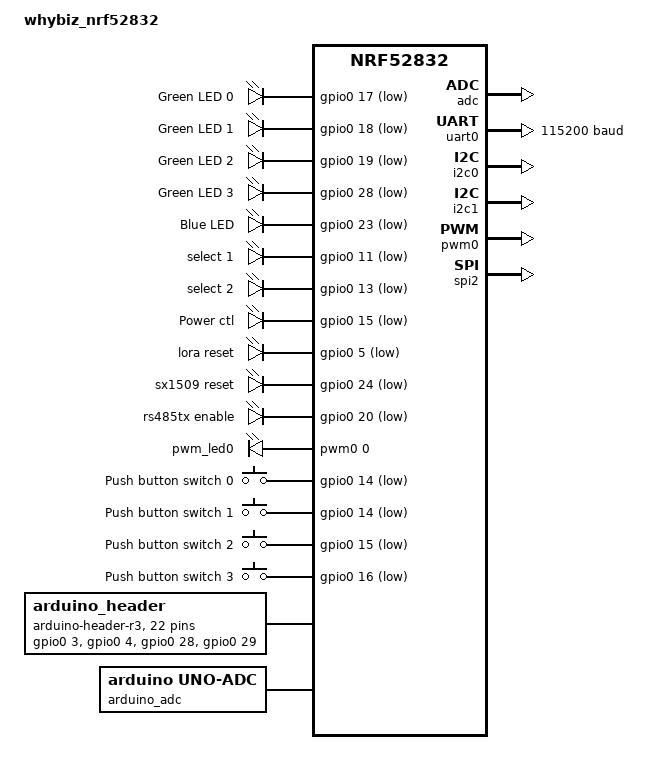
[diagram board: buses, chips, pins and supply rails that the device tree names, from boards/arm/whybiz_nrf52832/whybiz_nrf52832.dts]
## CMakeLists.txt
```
#
# Copyright (c) 2018 Nordic Semiconductor
#
# SPDX-License-Identifier: LicenseRef-Nordic-5-Clause
#
cmake_minimum_required(VERSION 3.20.0)

find_package(Zephyr REQUIRED HINTS $ENV{ZEPHYR_BASE})
project(NONE)

# NORDIC SDK APP START
target_sources(app PRIVATE
  src/main.c
  src/uttec.c 
  src/myBle.c 
  src/sx1509.c 
  src/adc.c 
  src/nvm.c
)

# Include UART ASYNC API adapter
target_sources_ifdef(CONFIG_BT_NUS_UART_ASYNC_ADAPTER app PRIVATE
  src/uart_async_adapter.c
)

# NORDIC SDK APP END

zephyr_library_include_directories(.)
```

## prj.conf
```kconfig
#
# Copyright (c) 2018 Nordic Semiconductor
#
# SPDX-License-Identifier: LicenseRef-Nordic-5-Clause
#

# Enable the UART driver
CONFIG_UART_ASYNC_API=y
CONFIG_NRFX_UARTE0=y
CONFIG_SERIAL=y

CONFIG_GPIO=y

# Make sure printk is printing to the UART console
CONFIG_CONSOLE=y
CONFIG_UART_CONSOLE=y

CONFIG_HEAP_MEM_POOL_SIZE=2048

CONFIG_BT=y
CONFIG_BT_PERIPHERAL=y
CONFIG_BT_DEVICE_NAME="Whybiz for nordic"
CONFIG_BT_DEVICE_APPEARANCE=833
CONFIG_BT_MAX_CONN=1
CONFIG_BT_MAX_PAIRED=1

# Enable the NUS service
CONFIG_BT_NUS=y

# Enable bonding
CONFIG_BT_SETTINGS=y
CONFIG_FLASH=y
CONFIG_FLASH_PAGE_LAYOUT=y
CONFIG_FLASH_MAP=y
CONFIG_NVS=y
CONFIG_SETTINGS=y

# Enable DK LED and Buttons library
CONFIG_DK_LIBRARY=y

# This example requires more stack
CONFIG_MAIN_STACK_SIZE=1152
CONFIG_SYSTEM_WORKQUEUE_STACK_SIZE=2048

# Config logger
CONFIG_LOG=y
CONFIG_USE_SEGGER_RTT=y
CONFIG_LOG_BACKEND_RTT=y
CONFIG_LOG_BACKEND_UART=n
CONFIG_LOG_PRINTK=y

CONFIG_ASSERT=y

CONFIG_JSON_LIBRARY=y

CONFIG_I2C=y
CONFIG_ADC=y

# for float print
CONFIG_CBPRINTF_FP_SUPPORT=y
```

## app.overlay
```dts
/*
 * Copyright (c) 2022 Nordic Semiconductor ASA
 *
 * SPDX-License-Identifier: LicenseRef-Nordic-5-Clause
 */

/ {
	chosen {
		nordic,nus-uart = &uart0;
	};
};

// &sx1509b {
// 	status = "okay";
// };	
```

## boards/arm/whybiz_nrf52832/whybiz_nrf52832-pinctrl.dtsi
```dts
&pinctrl {
	uart0_default: uart0_default {
		group1 {
			// psels = <NRF_PSEL(UART_TX, 0, 6)>,
			psels = <NRF_PSEL(UART_TX, 0, 22)>,
				<NRF_PSEL(UART_RX, 0, 8)>,
				<NRF_PSEL(UART_RTS, 0, 5)>,
				<NRF_PSEL(UART_CTS, 0, 7)>;
		};
	};

	uart0_sleep: uart0_sleep {
		group1 {
			// psels = <NRF_PSEL(UART_TX, 0, 6)>,
			psels = <NRF_PSEL(UART_TX, 0, 22)>,
				<NRF_PSEL(UART_RX, 0, 8)>,
				<NRF_PSEL(UART_RTS, 0, 5)>,
				<NRF_PSEL(UART_CTS, 0, 7)>;
			low-power-enable;
		};
	};

	i2c0_default: i2c0_default {
		group1 {
			psels = <NRF_PSEL(TWIM_SDA, 0, 19)>,
				<NRF_PSEL(TWIM_SCL, 0, 17)>;
			// psels = <NRF_PSEL(TWIM_SDA, 0, 26)>,
			// <NRF_PSEL(TWIM_SCL, 0, 27)>;
		};
	};

	i2c0_sleep: i2c0_sleep {
		group1 {
			psels = <NRF_PSEL(TWIM_SDA, 0, 19)>,
				<NRF_PSEL(TWIM_SCL, 0, 17)>;
			// psels = <NRF_PSEL(TWIM_SDA, 0, 26)>,
			// 	<NRF_PSEL(TWIM_SCL, 0, 27)>;
			low-power-enable;
		};
	};

	i2c1_default: i2c1_default {
		group1 {
			psels = <NRF_PSEL(TWIM_SDA, 0, 30)>,
				<NRF_PSEL(TWIM_SCL, 0, 31)>;
		};
	};

	i2c1_sleep: i2c1_sleep {
		group1 {
			psels = <NRF_PSEL(TWIM_SDA, 0, 30)>,
				<NRF_PSEL(TWIM_SCL, 0, 31)>;
			low-power-enable;
		};
	};

	pwm0_default: pwm0_default {
		group1 {
			psels = <NRF_PSEL(PWM_OUT0, 0, 17)>;
			nordic,invert;
		};
	};

	pwm0_sleep: pwm0_sleep {
		group1 {
			psels = <NRF_PSEL(PWM_OUT0, 0, 17)>;
			low-power-enable;
		};
	};

	spi0_default: spi0_default {
		group1 {
			psels = <NRF_PSEL(SPIM_SCK, 0, 27)>,
				<NRF_PSEL(SPIM_MOSI, 0, 26)>,
				<NRF_PSEL(SPIM_MISO, 0, 28)>;
		};
	};

	spi0_sleep: spi0_sleep {
		group1 {
			psels = <NRF_PSEL(SPIM_SCK, 0, 27)>,
				<NRF_PSEL(SPIM_MOSI, 0, 26)>,
				<NRF_PSEL(SPIM_MISO, 0, 28)>;
			low-power-enable;
		};
	};

	spi1_default: spi1_default {
		group1 {
			psels = <NRF_PSEL(SPIM_SCK, 0, 31)>,
				<NRF_PSEL(SPIM_MOSI, 0, 30)>,
				<NRF_PSEL(SPIM_MISO, 0, 29)>;
		};
	};

	spi1_sleep: spi1_sleep {
		group1 {
			psels = <NRF_PSEL(SPIM_SCK, 0, 31)>,
				<NRF_PSEL(SPIM_MOSI, 0, 30)>,
				<NRF_PSEL(SPIM_MISO, 0, 29)>;
			low-power-enable;
		};
	};

	spi2_default: spi2_default {
		group1 {
			psels = <NRF_PSEL(SPIM_SCK, 0, 25)>,
				<NRF_PSEL(SPIM_MOSI, 0, 23)>,
				<NRF_PSEL(SPIM_MISO, 0, 24)>;
		};
	};

	spi2_sleep: spi2_sleep {
		group1 {
			psels = <NRF_PSEL(SPIM_SCK, 0, 25)>,
				<NRF_PSEL(SPIM_MOSI, 0, 23)>,
				<NRF_PSEL(SPIM_MISO, 0, 24)>;
			low-power-enable;
		};
	};

};
```

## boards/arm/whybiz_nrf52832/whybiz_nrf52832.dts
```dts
// Copyright (c) 2024 Nordic Semiconductor ASA
// SPDX-License-Identifier: Apache-2.0

/dts-v1/;
#include <nordic/nrf52832_qfaa.dtsi>
#include "whybiz_nrf52832-pinctrl.dtsi"
#include <zephyr/dt-bindings/input/input-event-codes.h>

/ {
	model = "whybiz_nrf52832";
	compatible = "uttec,whybiz-nrf52832";


	chosen {
		zephyr,console = &uart0;
		zephyr,shell-uart = &uart0;
		zephyr,uart-mcumgr = &uart0;
		zephyr,bt-mon-uart = &uart0;
		zephyr,bt-c2h-uart = &uart0;
		zephyr,sram = &sram0;
		zephyr,flash = &flash0;
		zephyr,code-partition = &slot0_partition;
	};

	leds {
		compatible = "gpio-leds";
		led0: led_0 {
			gpios = <&gpio0 17 GPIO_ACTIVE_LOW>;
			label = "Green LED 0";
		};
		led1: led_1 {
			gpios = <&gpio0 18 GPIO_ACTIVE_LOW>;
			label = "Green LED 1";
		};
		led2: led_2 {
			gpios = <&gpio0 19 GPIO_ACTIVE_LOW>;
			label = "Green LED 2";
		};
		led3: led_3 {
			// gpios = <&gpio0 20 GPIO_ACTIVE_LOW>;
			gpios = <&gpio0 28 GPIO_ACTIVE_LOW>;
			label = "Green LED 3";
		};
		led4: led_4 {
			gpios = <&gpio0 23 GPIO_ACTIVE_LOW>;
			label = "Blue LED";
		};
		select1: select_1 {
			gpios = <&gpio0 11 GPIO_ACTIVE_LOW>;
			label = "select 1";
		};
		select2: select_2 {
			gpios = <&gpio0 13 GPIO_ACTIVE_LOW>;
			label = "select 2";
		};
		pwrctl: pwr_ctl {
			gpios = <&gpio0 15 GPIO_ACTIVE_LOW>;
			label = "Power ctl";
		};
		lorarst: lora_rst {
			gpios = <&gpio0 5 GPIO_ACTIVE_LOW>;
			label = "lora reset";
		};
		sx1509rst: sx1509_rst {
			gpios = <&gpio0 24 GPIO_ACTIVE_LOW>;
			label = "sx1509 reset";
		};

		rs485tx: rs485tx_en {
			gpios = <&gpio0 20 GPIO_ACTIVE_LOW>;
			label = "rs485tx enable";
		};
	};

	pwmleds {
		compatible = "pwm-leds";
		pwm_led0: pwm_led_0 {
			pwms = <&pwm0 0 PWM_MSEC(20) PWM_POLARITY_INVERTED>;
		};
	};

	buttons {
		compatible = "gpio-keys";
		button0: button_0 {
			// gpios = <&gpio0 13 (GPIO_PULL_UP | GPIO_ACTIVE_LOW)>;
			gpios = <&gpio0 14 (GPIO_PULL_UP | GPIO_ACTIVE_LOW)>;
			label = "Push button switch 0";
			zephyr,code = <INPUT_KEY_0>;
		};
		button1: button_1 {
			gpios = <&gpio0 14 (GPIO_PULL_UP | GPIO_ACTIVE_LOW)>;
			label = "Push button switch 1";
			zephyr,code = <INPUT_KEY_1>;
		};
		button2: button_2 {
			gpios = <&gpio0 15 (GPIO_PULL_UP | GPIO_ACTIVE_LOW)>;
			label = "Push button switch 2";
			zephyr,code = <INPUT_KEY_2>;
		};
		button3: button_3 {
			gpios = <&gpio0 16 (GPIO_PULL_UP | GPIO_ACTIVE_LOW)>;
			label = "Push button switch 3";
			zephyr,code = <INPUT_KEY_3>;
		};
	};

	arduino_header: connector {
		compatible = "arduino-header-r3";
		#gpio-cells = <2>;
		gpio-map-mask = <0xffffffff 0xffffffc0>;
		gpio-map-pass-thru = <0 0x3f>;
		gpio-map = <0 0 &gpio0 3 0>,	/* A0 */
			   <1 0 &gpio0 4 0>,	/* A1 */
			   <2 0 &gpio0 28 0>,	/* A2 */
			   <3 0 &gpio0 29 0>,	/* A3 */
			   <4 0 &gpio0 30 0>,	/* A4 */
			   <5 0 &gpio0 31 0>,	/* A5 */
			   <6 0 &gpio0 11 0>,	/* D0 */
			   <7 0 &gpio0 12 0>,	/* D1 */
			   <8 0 &gpio0 13 0>,	/* D2 */
			   <9 0 &gpio0 14 0>,	/* D3 */
			   <10 0 &gpio0 15 0>,	/* D4 */
			   <11 0 &gpio0 16 0>,	/* D5 */
			   <12 0 &gpio0 17 0>,	/* D6 */
			   <13 0 &gpio0 18 0>,	/* D7 */
			   <14 0 &gpio0 19 0>,	/* D8 */
			   <15 0 &gpio0 20 0>,	/* D9 */
			   <16 0 &gpio0 22 0>,	/* D10 */
			   <17 0 &gpio0 23 0>,	/* D11 */
			   <18 0 &gpio0 24 0>,	/* D12 */
			   <19 0 &gpio0 25 0>,	/* D13 */
			   <20 0 &gpio0 26 0>,	/* D14 */
			   <21 0 &gpio0 27 0>;	/* D15 */
	};

	arduino_adc: analog-connector {
		compatible = "arduino,uno-adc";
		#io-channel-cells = <1>;
		io-channel-map = <0 &adc 1>,	/* A0 = P0.3 = AIN1 */
				 <1 &adc 2>,	/* A1 = P0.4 = AIN2 */
				 <2 &adc 4>,	/* A2 = P0.28 = AIN4 */
				 <3 &adc 5>,	/* A3 = P0.29 = AIN5 */
				 <4 &adc 6>,	/* A4 = P0.30 = AIN6 */
				 <5 &adc 7>;	/* A5 = P0.31 = AIN7 */
	};

	/* These aliases are provided for compatibility with samples */
	aliases {
		led0 = &led0;
		led1 = &led1;
		led2 = &led2;
		led3 = &led3;
		pwm-led0 = &pwm_led0;
		sw0 = &button0;
		sw1 = &button1;
		sw2 = &button2;
		sw3 = &button3;
		bootloader-led0 = &led0;
		mcuboot-button0 = &button0;
		mcuboot-led0 = &led0;
		watchdog0 = &wdt0;
	};
};

&adc {
	status = "okay";
};

&uicr {
	gpio-as-nreset;
};

&gpiote {
	status = "okay";
};

&gpio0 {
	status = "okay";
};

arduino_serial: &uart0 {
	status = "okay";
	compatible = "nordic,nrf-uarte";
	current-speed = <115200>;
	pinctrl-0 = <&uart0_default>;
	pinctrl-1 = <&uart0_sleep>;
	pinctrl-names = "default", "sleep";
};

arduino_i2c: &i2c0 {
	compatible = "nordic,nrf-twi";
	status = "okay";
	pinctrl-0 = <&i2c0_default>;
	pinctrl-1 = <&i2c0_sleep>;
	pinctrl-names = "default", "sleep";

};

&i2c1 {
	compatible = "nordic,nrf-twi";
	/* Cannot be used together with spi1. */
	status = "okay";
	pinctrl-0 = <&i2c1_default>;
	pinctrl-1 = <&i2c1_sleep>;
	pinctrl-names = "default", "sleep";
};

&pwm0 {
	status = "okay";
	pinctrl-0 = <&pwm0_default>;
	pinctrl-1 = <&pwm0_sleep>;
	pinctrl-names = "default", "sleep";
};

&spi0 {
	compatible = "nordic,nrf-spi";
	/* Cannot be used together with i2c0. */
	/* status = "okay"; */
	pinctrl-0 = <&spi0_default>;
	pinctrl-1 = <&spi0_sleep>;
	pinctrl-names = "default", "sleep";
};

&spi1 {
	compatible = "nordic,nrf-spi";
	// status = "okay";
	pinctrl-0 = <&spi1_default>;
	pinctrl-1 = <&spi1_sleep>;
	pinctrl-names = "default", "sleep";
};

arduino_spi: &spi2 {
	compatible = "nordic,nrf-spi";
	status = "okay";
	cs-gpios = <&arduino_header 16 GPIO_ACTIVE_LOW>; /* D10 */
	pinctrl-0 = <&spi2_default>;
	pinctrl-1 = <&spi2_sleep>;
	pinctrl-names = "default", "sleep";
};

&flash0 {

	partitions {
		compatible = "fixed-partitions";
		#address-cells = <1>;
		#size-cells = <1>;

		boot_partition: partition@0 {
			label = "mcuboot";
			reg = <0x00000000 0xc000>;
		};
		slot0_partition: partition@c000 {
			label = "image-0";
			reg = <0x0000C000 0x37000>;
		};
		slot1_partition: partition@43000 {
			label = "image-1";
			reg = <0x00043000 0x37000>;
		};
		storage_partition: partition@7a000 {
			label = "storage";
			reg = <0x0007a000 0x00006000>;
		};
	};
};
```

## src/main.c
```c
#include "uart_async_adapter.h"

#include <zephyr/types.h>
#include <zephyr/kernel.h>
#include <zephyr/drivers/uart.h>

#include <zephyr/device.h>
#include <zephyr/devicetree.h>
#include <soc.h>

#include <stdio.h>
#include <zephyr/logging/log.h>

#include "uttec.h"
#include "myBle.h"
#include "sx1509.h"
#include "adc.h"
#include "nvm.h"

#define RUN_LED_BLINK_INTERVAL 500
#define RUN_STATUS_LED DK_LED1

connectFlag_t whybizConnect = {0, };
connectFlag_t* getConnectFlag(void){
	return &whybizConnect;
}

#define I2C_ENABLE 1

int main(void)
{
	printk("nordic for whybiz. 2024.01.26. 09:20\r\n");
	initBle();
	initAdc();
	initNvm();
	initPort();

#ifdef I2C_ENABLE
	initSx1509();
#endif

	whybizConnect.first = true;
    // whybiz_t* pFactor = getWhybizFactor();

	for (;;) {
		static uint32_t count = 0;
		static bool toggle = false;
		delay(500);

#ifdef I2C_ENABLE
		if(!(count % 2)){
			// sendStatus2Server();
		}
		if(!(count % 3)){
			printk("main: %d\n", count);
			dispChannel();
		}

		if((count % 10) == 5){
		    whybiz_t* pFactor = getWhybizFactor();
			if(pFactor->channel == LORA_CHANNEL){
				printk("rssi read\n");
				printf("at=i");
			}
		}	
#endif
		toggle = !toggle;
		count++;
	}
}

#define STACKSIZE CONFIG_BT_NUS_THREAD_STACK_SIZE
#define PRIORITY 7

void parsing(void){
	printk("now start parsing task\r\n");
	uint8_t beforeSw = 0;
    whybiz_t* pFactor = getWhybizFactor();
    whybizFrame_t* pFrame = getWhybizFrame();
    connectFlag_t* pFlags = getConnectFlag();

	while(1){
		delay(200);
		jsonFrame_t* pJason = getJsonFrame();
		if(pJason->flag){
			newParse(pJason->frame, pJason->end+1);// json test
			dispJsonFrame();
			k_sleep(K_MSEC(20));
			clearJsonData();
		}

		uint8_t nowSw = readSxSw();
		if(beforeSw != nowSw){
			beforeSw = nowSw;
			printk("changed switch, send data to server------->\r\n");
			pFrame->category = SWITCH_DEVICE; 
			pFrame->sensor = pFactor->sw; pFrame->value = pFactor->sw; 
			ack_t ack = {pFrame->category, pFrame->sensor, pFrame->sensor, 200};
			sendAck(ack);
			procSwitchTxBle(pFlags->ble);
			delay(100);
			ack.ca = pFrame->category; ack.se = pFrame->sensor;
			ack.va = pFrame->sensor; ack.crc = 200;
			sendAck(ack);
			procSwitchTxBle(pFlags->ble);
		}
		// sendStatus2Server();
	}
}

K_THREAD_DEFINE(parsing_thread_id, STACKSIZE, parsing, NULL, NULL,
		NULL, PRIORITY, 0, 0);

void test(void){
	uint32_t testCount = 0;
    whybiz_t* pFactor = getWhybizFactor();
	while(true){
		if(pFactor->channel == RS485_CHANNEL)
			delay(20);
		else
			delay(500);
		sendStatus2Server();
		// printk("test: %d\n", testCount++);
		// printk("-");
	}
}

K_THREAD_DEFINE(test_id, STACKSIZE, test, NULL, NULL,
		NULL, PRIORITY, 0, 0);
```

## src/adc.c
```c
#include "uart_async_adapter.h"

#include <zephyr/types.h>
#include <zephyr/kernel.h>
#include <zephyr/drivers/uart.h>
#include <zephyr/usb/usb_device.h>

#include <zephyr/device.h>
#include <zephyr/devicetree.h>
#include <soc.h>

#include <dk_buttons_and_leds.h>

#include <stdio.h>

#include <zephyr/logging/log.h>

#include "uttec.h"
#include "myBle.h"
#include "sx1509.h"

#include <zephyr/drivers/adc.h>

#define ADC DT_NODELABEL(adc)
static const struct device *adc_dev = DEVICE_DT_GET(ADC);

#define ADC_RESOLUTION 	10
#define ADC0_CHANNEL	0
#define ADC1_CHANNEL	2
#define ADC0_PORT		SAADC_CH_PSELN_PSELN_AnalogInput0
#define ADC1_PORT		SAADC_CH_PSELN_PSELN_AnalogInput2
#define ADC_REFERENCE	ADC_REF_INTERNAL
#define ADC_GAIN		ADC_GAIN_1_6 

struct adc_channel_cfg ch0_cfg = {
	.gain = ADC_GAIN,
	.reference = ADC_REFERENCE,
	.acquisition_time = ADC_ACQ_TIME_DEFAULT,
	.channel_id = ADC0_CHANNEL,
#ifdef CONFIG_ADC_NRFX_SAADC
	.input_positive = ADC0_PORT
#endif 	
}; 
struct adc_channel_cfg ch1_cfg = {
	.gain = ADC_GAIN,
	.reference = ADC_REFERENCE,
	.acquisition_time = ADC_ACQ_TIME_DEFAULT,
	.channel_id = ADC1_CHANNEL,
#ifdef CONFIG_ADC_NRFX_SAADC
	.input_positive = ADC1_PORT
#endif 	
}; 

int16_t sample_buffer[2];
struct adc_sequence sequence = {
	.channels = BIT(ADC0_CHANNEL) | BIT(ADC1_CHANNEL),
	// .channels = BIT(ADC0_CHANNEL),
	.buffer = sample_buffer,
	.buffer_size = sizeof(sample_buffer),
	.resolution = ADC_RESOLUTION
};

void initAdc(void){
	if(!device_is_ready(adc_dev)){
		printk("adc_dev is not ready.");
	}
	int err = adc_channel_setup(adc_dev, &ch0_cfg);
	err = adc_channel_setup(adc_dev, &ch1_cfg);
	
}

void testAdc(void){
    int err;
    err = adc_read(adc_dev, &sequence);
    if(err != 0){
        printk("ADC reading failed with error %d\r\n", err);
        return;
    }
    int32_t mv_value = sample_buffer[0];
    int32_t adc_vref = adc_ref_internal(adc_dev);
    adc_raw_to_millivolts(adc_vref, ADC_GAIN, ADC_RESOLUTION, &mv_value);
    printk("ADC-spanning: %d mV, %d\r\n", mv_value, sample_buffer[0]/10);

    int32_t mv_value1 = sample_buffer[1];
    adc_raw_to_millivolts(adc_vref, ADC_GAIN, ADC_RESOLUTION, &mv_value1);
    printk("ADC-spanning: %d mV, %d\r\n", mv_value1, sample_buffer[1]);    
}

void readAdcValue(void){
    int err;
    whybiz_t* pWhybiz = getWhybizFactor();
    err = adc_read(adc_dev, &sequence);
    if(err != 0){
        printk("ADC reading failed with error %d\r\n", err);
        return;
    }
    pWhybiz->adc1 = sample_buffer[0]/10;
    pWhybiz->adc2 = sample_buffer[1]/10;
    printk("Adc1: %d, Adc2: %d\n", 
        pWhybiz->adc1, pWhybiz->adc2);
}
```

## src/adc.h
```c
#ifndef ADC__H__
#define ADC__H__


void initAdc(void);
void readAdcValue(void);

void testAdc(void);


#endif 
```

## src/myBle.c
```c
#include "uart_async_adapter.h"

#include <zephyr/types.h>
#include <zephyr/kernel.h>
#include <zephyr/drivers/uart.h>
#include <zephyr/usb/usb_device.h>

#include <zephyr/device.h>
#include <zephyr/devicetree.h>
#include <soc.h>

#include <zephyr/bluetooth/bluetooth.h>
#include <zephyr/bluetooth/uuid.h>
#include <zephyr/bluetooth/gatt.h>
#include <zephyr/bluetooth/hci.h>

#include <bluetooth/services/nus.h>

#include <dk_buttons_and_leds.h>

#include <zephyr/settings/settings.h>

#include <stdio.h>

#include <zephyr/logging/log.h>

#include "myBle.h"
#include "uttec.h"
#include "sx1509.h"

#define LOG_MODULE_NAME peripheral_uart
LOG_MODULE_REGISTER(LOG_MODULE_NAME);

#define STACKSIZE CONFIG_BT_NUS_THREAD_STACK_SIZE
#define PRIORITY 7

// #define DEVICE_NAME CONFIG_BT_DEVICE_NAME
// #define DEVICE_NAME_LEN	(sizeof(DEVICE_NAME) - 1)

// #define RUN_STATUS_LED DK_LED1
// #define RUN_LED_BLINK_INTERVAL 3000

#define CON_STATUS_LED DK_LED2

#define KEY_PASSKEY_ACCEPT DK_BTN1_MSK
#define KEY_PASSKEY_REJECT DK_BTN2_MSK

// #define UART_BUF_SIZE CONFIG_BT_NUS_UART_BUFFER_SIZE
#define UART_BUF_SIZE 100
// #define UART_BUF_SIZE 200
#define UART_WAIT_FOR_BUF_DELAY K_MSEC(50)
#define UART_WAIT_FOR_RX CONFIG_BT_NUS_UART_RX_WAIT_TIME

static K_SEM_DEFINE(ble_init_ok, 0, 1);

static struct bt_conn *current_conn;
static struct bt_conn *auth_conn;

static const struct device *uart = DEVICE_DT_GET(DT_CHOSEN(nordic_nus_uart));
static struct k_work_delayable uart_work;


struct uart_data_t {
	void *fifo_reserved;
	uint8_t data[UART_BUF_SIZE];
	uint16_t len;
};

static K_FIFO_DEFINE(fifo_uart_tx_data);
static K_FIFO_DEFINE(fifo_uart_rx_data);

// static const struct bt_data ad[] = {
// 	BT_DATA_BYTES(BT_DATA_FLAGS, (BT_LE_AD_GENERAL | BT_LE_AD_NO_BREDR)),
// 	BT_DATA(BT_DATA_NAME_COMPLETE, DEVICE_NAME, DEVICE_NAME_LEN),
// };

static const struct bt_data sd[] = {
	BT_DATA_BYTES(BT_DATA_UUID128_ALL, BT_UUID_NUS_VAL),
};

#if CONFIG_BT_NUS_UART_ASYNC_ADAPTER
UART_ASYNC_ADAPTER_INST_DEFINE(async_adapter);
#else
static const struct device *const async_adapter;
#endif



static void uart_cb(const struct device *dev, struct uart_event *evt, void *user_data)
{
	ARG_UNUSED(dev);

	static size_t aborted_len;
	struct uart_data_t *buf;
	static uint8_t *aborted_buf;
	static bool disable_req;

	switch (evt->type) {
	case UART_TX_DONE:
		LOG_DBG("UART_TX_DONE");
		LOG_INF("UART_TX_DONE");
		if ((evt->data.tx.len == 0) ||
		    (!evt->data.tx.buf)) {
			return;
		}

		if (aborted_buf) {
			buf = CONTAINER_OF(aborted_buf, struct uart_data_t,
					   data);
			aborted_buf = NULL;
			aborted_len = 0;
		} else {
			buf = CONTAINER_OF(evt->data.tx.buf, struct uart_data_t,
					   data);
		}

		k_free(buf);

		buf = k_fifo_get(&fifo_uart_tx_data, K_NO_WAIT);
		if (!buf) {
			return;
		}

		if (uart_tx(uart, buf->data, buf->len, SYS_FOREVER_MS)) {
			LOG_WRN("Failed to send data over UART");
		}

		break;

	case UART_RX_RDY:
	// test0
		// LOG_DBG("UART_RX_RDY");
		// LOG_INF("UART_RX_RDY");
		buf = CONTAINER_OF(evt->data.rx.buf, struct uart_data_t, data);
		buf->len += evt->data.rx.len;

		if (disable_req) {
			return;
		}

		if ((evt->data.rx.buf[buf->len - 1] == '\n') ||
		    (evt->data.rx.buf[buf->len - 1] == '\r')) {
			// printk("<--%d\r\n", buf->len);	
			disable_req = true;
			uart_rx_disable(uart);
		}

		break;

	case UART_RX_DISABLED:
		LOG_DBG("UART_RX_DISABLED");
		disable_req = false;

		buf = k_malloc(sizeof(*buf));
		if (buf) {
			buf->len = 0;
		} else {
			LOG_WRN("Not able to allocate UART receive buffer");
			k_work_reschedule(&uart_work, UART_WAIT_FOR_BUF_DELAY);
			return;
		}

		uart_rx_enable(uart, buf->data, sizeof(buf->data),
			       UART_WAIT_FOR_RX);

		break;

	case UART_RX_BUF_REQUEST:
		LOG_DBG("UART_RX_BUF_REQUEST");
		buf = k_malloc(sizeof(*buf));
		if (buf) {
			buf->len = 0;
			uart_rx_buf_rsp(uart, buf->data, sizeof(buf->data));
		} else {
			LOG_WRN("Not able to allocate UART receive buffer");
		}

		break;

	case UART_RX_BUF_RELEASED:
		LOG_DBG("UART_RX_BUF_RELEASED");
		buf = CONTAINER_OF(evt->data.rx_buf.buf, struct uart_data_t,
				   data);

		if (buf->len > 0) {
			k_fifo_put(&fifo_uart_rx_data, buf);
		} else {
			k_free(buf);
		}

		break;

	case UART_TX_ABORTED:
		LOG_DBG("UART_TX_ABORTED");
		if (!aborted_buf) {
			aborted_buf = (uint8_t *)evt->data.tx.buf;
		}

		aborted_len += evt->data.tx.len;
		buf = CONTAINER_OF(aborted_buf, struct uart_data_t,
				   data);

		uart_tx(uart, &buf->data[aborted_len],
			buf->len - aborted_len, SYS_FOREVER_MS);

		break;

	default:
		break;
	}
}

static void uart_work_handler(struct k_work *item)
{
	struct uart_data_t *buf;

	buf = k_malloc(sizeof(*buf));
	if (buf) {
		buf->len = 0;
	} else {
		LOG_WRN("Not able to allocate UART receive buffer");
		k_work_reschedule(&uart_work, UART_WAIT_FOR_BUF_DELAY);
		return;
	}

	uart_rx_enable(uart, buf->data, sizeof(buf->data), UART_WAIT_FOR_RX);
}

static bool uart_test_async_api(const struct device *dev)
{
	const struct uart_driver_api *api =
			(const struct uart_driver_api *)dev->api;

	return (api->callback_set != NULL);
}

static int uart_init(void)
{
	int err;
	// int pos;
	struct uart_data_t *rx;
	struct uart_data_t *tx;

	if (!device_is_ready(uart)) {
		return -ENODEV;
	}

	if (IS_ENABLED(CONFIG_USB_DEVICE_STACK)) {
		err = usb_enable(NULL);
		if (err && (err != -EALREADY)) {
			LOG_ERR("Failed to enable USB");
			return err;
		}
	}

	rx = k_malloc(sizeof(*rx));
	if (rx) {
		rx->len = 0;
	} else {
		return -ENOMEM;
	}

	k_work_init_delayable(&uart_work, uart_work_handler);


	if (IS_ENABLED(CONFIG_BT_NUS_UART_ASYNC_ADAPTER) && !uart_test_async_api(uart)) {
		/* Implement API adapter */
		uart_async_adapter_init(async_adapter, uart);
		uart = async_adapter;
	}

	err = uart_callback_set(uart, uart_cb, NULL);
	if (err) {
		k_free(rx);
		LOG_ERR("Cannot initialize UART callback");
		return err;
	}

	if (IS_ENABLED(CONFIG_UART_LINE_CTRL)) {
		LOG_INF("Wait for DTR");
		while (true) {
			uint32_t dtr = 0;

			uart_line_ctrl_get(uart, UART_LINE_CTRL_DTR, &dtr);
			if (dtr) {
				break;
			}
			/* Give CPU resources to low priority threads. */
			k_sleep(K_MSEC(100));
		}
		LOG_INF("DTR set");
		err = uart_line_ctrl_set(uart, UART_LINE_CTRL_DCD, 1);
		if (err) {
			LOG_WRN("Failed to set DCD, ret code %d", err);
		}
		err = uart_line_ctrl_set(uart, UART_LINE_CTRL_DSR, 1);
		if (err) {
			LOG_WRN("Failed to set DSR, ret code %d", err);
		}
	}

	err = uart_rx_enable(uart, rx->data, sizeof(rx->data), 50);
	if (err) {
		LOG_ERR("Cannot enable uart reception (err: %d)", err);
		/* Free the rx buffer only because the tx buffer will be handled in the callback */
		k_free(rx);
	}

	return err;
}

static void connected(struct bt_conn *conn, uint8_t err)
{
	char addr[BT_ADDR_LE_STR_LEN];

	if (err) {
		LOG_ERR("Connection failed (err %u)", err);
		return;
	}
	connectFlag_t* pFlags = getConnectFlag();
	pFlags->ble = true;
	pFlags->first = false;

	bt_addr_le_to_str(bt_conn_get_dst(conn), addr, sizeof(addr));
	LOG_INF("Connected %s", addr);

	current_conn = bt_conn_ref(conn);

	dk_set_led_on(CON_STATUS_LED);
}

static void disconnected(struct bt_conn *conn, uint8_t reason)
{
	char addr[BT_ADDR_LE_STR_LEN];
	
	connectFlag_t* pFlags = getConnectFlag();
	pFlags->ble = false;

	bt_addr_le_to_str(bt_conn_get_dst(conn), addr, sizeof(addr));

	LOG_INF("Disconnected: %s (reason %u)", addr, reason);

	if (auth_conn) {
		bt_conn_unref(auth_conn);
		auth_conn = NULL;
	}

	if (current_conn) {
		bt_conn_unref(current_conn);
		current_conn = NULL;
		dk_set_led_off(CON_STATUS_LED);
	}
}

#ifdef CONFIG_BT_NUS_SECURITY_ENABLED
static void security_changed(struct bt_conn *conn, bt_security_t level,
			     enum bt_security_err err)
{
	char addr[BT_ADDR_LE_STR_LEN];

	bt_addr_le_to_str(bt_conn_get_dst(conn), addr, sizeof(addr));

	if (!err) {
		LOG_INF("Security changed: %s level %u", addr, level);
	} else {
		LOG_WRN("Security failed: %s level %u err %d", addr,
			level, err);
	}
}
#endif

BT_CONN_CB_DEFINE(conn_callbacks) = {
	.connected    = connected,
	.disconnected = disconnected,
#ifdef CONFIG_BT_NUS_SECURITY_ENABLED
	.security_changed = security_changed,
#endif
};

#if defined(CONFIG_BT_NUS_SECURITY_ENABLED)
static void auth_passkey_display(struct bt_conn *conn, unsigned int passkey)
{
	char addr[BT_ADDR_LE_STR_LEN];

	bt_addr_le_to_str(bt_conn_get_dst(conn), addr, sizeof(addr));

	LOG_INF("Passkey for %s: %06u", addr, passkey);
}

static void auth_passkey_confirm(struct bt_conn *conn, unsigned int passkey)
{
	char addr[BT_ADDR_LE_STR_LEN];

	auth_conn = bt_conn_ref(conn);

	bt_addr_le_to_str(bt_conn_get_dst(conn), addr, sizeof(addr));

	LOG_INF("Passkey for %s: %06u", addr, passkey);
	LOG_INF("Press Button 1 to confirm, Button 2 to reject.");
}


static void auth_cancel(struct bt_conn *conn)
{
	char addr[BT_ADDR_LE_STR_LEN];

	bt_addr_le_to_str(bt_conn_get_dst(conn), addr, sizeof(addr));

	LOG_INF("Pairing cancelled: %s", addr);
}


static void pairing_complete(struct bt_conn *conn, bool bonded)
{
	char addr[BT_ADDR_LE_STR_LEN];

	bt_addr_le_to_str(bt_conn_get_dst(conn), addr, sizeof(addr));

	LOG_INF("Pairing completed: %s, bonded: %d", addr, bonded);
}


static void pairing_failed(struct bt_conn *conn, enum bt_security_err reason)
{
	char addr[BT_ADDR_LE_STR_LEN];

	bt_addr_le_to_str(bt_conn_get_dst(conn), addr, sizeof(addr));

	LOG_INF("Pairing failed conn: %s, reason %d", addr, reason);
}


static struct bt_conn_auth_cb conn_auth_callbacks = {
	.passkey_display = auth_passkey_display,
	.passkey_confirm = auth_passkey_confirm,
	.cancel = auth_cancel,
};

static struct bt_conn_auth_info_cb conn_auth_info_callbacks = {
	.pairing_complete = pairing_complete,
	.pairing_failed = pairing_failed
};
#else
static struct bt_conn_auth_cb conn_auth_callbacks;
static struct bt_conn_auth_info_cb conn_auth_info_callbacks;
#endif


static void bt_receive_cb(struct bt_conn *conn, const uint8_t *const data,
			  uint16_t len)
{
	char addr[BT_ADDR_LE_STR_LEN] = {0};

	bt_addr_le_to_str(bt_conn_get_dst(conn), addr, ARRAY_SIZE(addr));

	LOG_INF("Received from: %s, data: %s", addr, data);

	for (uint16_t pos = 0; pos != len;) {
		struct uart_data_t *tx = k_malloc(sizeof(*tx));

		if (!tx) {
			LOG_WRN("Not able to allocate UART send data buffer");
			return;
		}

		size_t tx_data_size = sizeof(tx->data) - 1;

		if ((len - pos) > tx_data_size) {
			tx->len = tx_data_size;
		} else {
			tx->len = (len - pos);
		}

		memcpy(tx->data, &data[pos], tx->len);

		pos += tx->len;

		if ((pos == len) && (data[len - 1] == '\r')) {
			tx->data[tx->len] = '\n';
			tx->len++;
		}
		procRxBle((uint8_t *)tx->data, tx->len);
		k_free(tx);	
	}
}

static struct bt_nus_cb nus_cb = {
	.received = bt_receive_cb,
};


#define DEVICE_NAME "wbiz_nrf_123"
#define DEVICE_NAME_LEN	(sizeof(DEVICE_NAME) - 1)

// static const struct bt_data ad[] = {
// 	BT_DATA_BYTES(BT_DATA_FLAGS, (BT_LE_AD_GENERAL | BT_LE_AD_NO_BREDR)),
// 	// BT_DATA(BT_DATA_NAME_COMPLETE, adTemp, 20),
// 	BT_DATA(BT_DATA_NAME_COMPLETE, DEVICE_NAME, DEVICE_NAME_LEN),
// };

void initBle(void){
	int err = 0;
	err = uart_init();
	printk("----------------\r\n");
	printk("now start initBle. 2023.12.08. 15:13\r\n");

	if (IS_ENABLED(CONFIG_BT_NUS_SECURITY_ENABLED)) {
		err = bt_conn_auth_cb_register(&conn_auth_callbacks);
		if (err) {
			printk("Failed to register authorization callbacks.\n");
		}

		err = bt_conn_auth_info_cb_register(&conn_auth_info_callbacks);
		if (err) {
			printk("Failed to register authorization info callbacks.\n");
		}
	}

	err = bt_enable(NULL);

	LOG_INF("Bluetooth initialized");

	k_sem_give(&ble_init_ok);

	if (IS_ENABLED(CONFIG_SETTINGS)) {
		settings_load();
	}

	err = bt_nus_init(&nus_cb);
	if (err) {
		LOG_ERR("Failed to initialize UART service (err: %d)", err);
	}

	whybiz_t* pFactor = getWhybizFactor();

	uint8_t test[20] = {0, }; 
	printk("ble: %d\r\n", pFactor->ble);
	sprintf(test, "wbiz_nrf_%d", pFactor->ble);
struct bt_data ad_hong[] = {
	BT_DATA_BYTES(BT_DATA_FLAGS, (BT_LE_AD_GENERAL | BT_LE_AD_NO_BREDR)),
	// BT_DATA(BT_DATA_NAME_COMPLETE, adTemp, 20),
	BT_DATA(BT_DATA_NAME_COMPLETE, test, DEVICE_NAME_LEN),
};

	err = bt_le_adv_start(BT_LE_ADV_CONN, ad_hong, ARRAY_SIZE(ad_hong), sd,
			      ARRAY_SIZE(sd));
	if (err) {
		LOG_ERR("Advertising failed to start (err %d)", err);
	}

}

void procRxBle(uint8_t* data, uint16_t len){
	printk("procRxData len: %d \r\n", len);
	uint8_t category = data[0];
	uint8_t sensor = data[1];
	uint8_t value = data[2];
	whybiz_t* pFactor = getWhybizFactor();
    connectFlag_t* pFlags = getConnectFlag();
	printk("ca: %d, se: %d, value: %d\r\n", category, sensor, value);
	switch(category){
		case CTR_RELAY:
			printk("relay setting\r\n");
			writeOutSx(sensor, value);
			procRelayTxBle(pFlags->ble);
		break;
		case CTR_LORA:
			printk("lora setting by ble. tbd(2023.12.14)\r\n");
			procLora(true);
			// writeOutSx(sensor, value);
		break;
		case CTR_CHANNEL:
			pFactor->channel = sensor - 1;
			setUartChannel(pFactor->channel);
			printk("channel setting by ble. tbd(2023.12.14)\r\n");
			procChannel(true);
		break;
	}
}

void sendToMobile(uint8_t* buf, uint8_t len){
	connectFlag_t* pFlag = getConnectFlag();
	if(pFlag->ble){
		if (bt_nus_send(NULL, buf, len)) {
			LOG_WRN("Failed to send data over BLE connection");
		}
	}
}

void procChannel(bool ble){
	if(ble){
		uint8_t buf[3] = {0, };
		whybiz_t* pFactor = getWhybizFactor();

		buf[0] = CHANNEL_DEVICE; buf[1] = pFactor->channel; buf[2] = pFactor->lora_ch;
		sendToMobile(buf, sizeof(buf));
	}
}

#include "adc.h"
void procAdcTxBle(bool ble){
	printk("procAdcTxBle\n");
	readAdcValue();

	if(ble){
		uint8_t buf[3] = {0, };
		whybiz_t* pFactor = getWhybizFactor();

		buf[0] = ADC_DEVICE; buf[1] = pFactor->adc1; buf[2] = pFactor->adc2;
		sendToMobile(buf, sizeof(buf));
	}
}

void procSwitchTxBle(bool ble){
	readSxSw();
	if(ble){
		uint8_t buf[3] = {0, };
		whybiz_t* pFactor = getWhybizFactor();

		buf[0] = SWITCH_DEVICE; buf[1] = pFactor->sw; buf[2] = pFactor->sw;
		sendToMobile(buf, sizeof(buf));
	}
}

// void procRelayTxBle(uint8_t num, uint8_t value){
void procRelayTxBle(bool ble){
	readSxRelay();
	if(ble){
		uint8_t buf[3] = {0, };
		whybiz_t* pFactor = getWhybizFactor();

		buf[0] = RELAY_DEVICE; buf[1] = pFactor->relay; buf[2] = pFactor->relay;
		sendToMobile(buf, sizeof(buf));
	}
}

void procLora(bool ble){
	if(ble){
		uint8_t buf[3] = {0, };
		whybiz_t* pFactor = getWhybizFactor();

		buf[0] = LORA_DEVICE; buf[1] = pFactor->power; buf[2] = pFactor->rssi;
		sendToMobile(buf, sizeof(buf));
	}
}

void procVersion(bool ble){
	if(ble){
		uint8_t buf[3] = {0, };
		whybiz_t* pFactor = getWhybizFactor();

		buf[0] = VERSION_DEVICE; buf[1] = pFactor->version; buf[2] = pFactor->ble;
		sendToMobile(buf, sizeof(buf));
	}
}


jsonFrame_t myJson = {0, };

#define END_POSITION 
void getJsonData(uint8_t* pBuf, uint8_t len){
	bool startFlag = false;
	for(int i = 0; i < len; i++){
		myJson.frame[i] = *pBuf++;
		if((myJson.frame[i] == '{')&&(!startFlag)){
			myJson.start = i;	
			startFlag = true;
		} 
		else{//alread startFlag
			if(((i - myJson.start) == 6)&&(myJson.frame[i] == '}')){
				// printk("end frame\r\n");
				myJson.end = i;
				myJson.flag = 1;
			}
			// if(myJson.frame[i] == '}') printk("myposition: %d\r\n", i);
		}
	} 
	// printk("len: %d\r\n", len);
	// for(int i = 0; i < len; i++) printk("%d, ", myJson.frame[i]);
	// printk("\r\n");
}

void clearJsonData(void){
	for(int i = 0; i < sizeof(myJson.frame); i++) myJson.frame[i] = 0;
	myJson.flag = myJson.end = myJson.start = 0;
}

jsonFrame_t* getJsonFrame(void){
	return &myJson;
}

void dispJsonFrame(void){
	// printk("start: %d, end: %d\r\n", myJson.start, myJson.end);
	// printk("\r\n");
	for(int i = 0; i < myJson.end; i++){
		printk("%d,", myJson.frame[i]);
	}
	// printk("<---end\r\n");
}

void ble_write_thread(void)
{
	k_sem_take(&ble_init_ok, K_FOREVER);
// test3
	for (;;) {
		/* Wait indefinitely for data to be sent over bluetooth */
		struct uart_data_t *buf = k_fifo_get(&fifo_uart_rx_data,
						     K_FOREVER);
		// printk("---->%s\r\n", buf->data);
		// LOG_INF("---->%s", buf->data);
		getJsonData(buf->data, buf->len);	
		k_free(buf);
	}
	LOG_INF("ble_write_thread");
}

K_THREAD_DEFINE(ble_write_thread_id, STACKSIZE, ble_write_thread, NULL, NULL,
		NULL, PRIORITY, 0, 0);
```

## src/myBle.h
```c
#ifndef MYBLE__H__
#define MYBLE__H__
// 	BT_UUID_128_ENCODE(0x6e400001, 0xb5a3, 0xf393, 0xe0a9, 0xe50e24dcca9e)
// 	Service UUID: 			6e400001-b5a3-f393-e0a9-e50e24dcca9e
// 	Tx Characteristic UUID: 6e400003-b5a3-f393-e0a9-e50e24dcca9e
// 	Rx Characteristic UUID: 6e400002-b5a3-f393-e0a9-e50e24dcca9e

void initBle(void);
void procRxBle(uint8_t* data, uint16_t len);
void procTxBle(void);

void procSwitchTxBle(bool);
void procRelayTxBle(bool);
void procAdcTxBle(bool);
#endif 
```

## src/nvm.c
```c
#include <zephyr/kernel.h>
#include <zephyr/sys/reboot.h>
#include <zephyr/device.h>
#include <string.h>
#include <zephyr/drivers/flash.h>
#include <zephyr/storage/flash_map.h>
#include <zephyr/fs/nvs.h>

#include "nvm.h"

static struct nvs_fs fs;

#define NVS_PARTITION		storage_partition
#define NVS_PARTITION_DEVICE	FIXED_PARTITION_DEVICE(NVS_PARTITION)
#define NVS_PARTITION_OFFSET	FIXED_PARTITION_OFFSET(NVS_PARTITION)

#define UTTEC_ID 2 

// static uttec_t myUttec = {0, };
#include "uttec.h"

void dispFactors(void){
	whybiz_t* pWhybiz = getWhybizFactor();
	printk("============= whybiz factors ==========\r\n");
	printk("version: %d\r\n", pWhybiz->version);
	printk("node: %d\r\n", pWhybiz->node);
	printk("uart: %d\r\n", pWhybiz->channel);
	printk("ble: %d\r\n", pWhybiz->ble);
	printk("adc1: %d\r\n", pWhybiz->adc1);
	printk("adc2: %d\r\n", pWhybiz->adc2);
	printk("sw: %d\r\n", pWhybiz->sw);
	printk("relay: %d\r\n", pWhybiz->relay);
	printk("lora_ch: %d\r\n", pWhybiz->lora_ch);
	printk("power: %d\r\n", pWhybiz->power);
	printk("rssi: %d\r\n", pWhybiz->rssi);
	printk("============= whybiz factors ==========\r\n");
	k_sleep(K_MSEC(1000));
}

void initNvm(void){
    int rc = 0;
	struct flash_pages_info info;
	whybiz_t* pWhybiz = getWhybizFactor();

	fs.flash_device = NVS_PARTITION_DEVICE;
	if (!device_is_ready(fs.flash_device)) {
		printk("Flash device %s is not ready\n", fs.flash_device->name);
	}
	fs.offset = NVS_PARTITION_OFFSET;
	rc = flash_get_page_info_by_offs(fs.flash_device, fs.offset, &info);
	if (rc) {
		printk("Unable to get page info\n");
	}
	fs.sector_size = info.size;
	fs.sector_count = 3U;

	rc = nvs_mount(&fs);
	if (rc) {
		printk("Flash Init failed\n");
	}                    

	rc = nvs_read(&fs, UTTEC_ID, pWhybiz, sizeof(whybiz_t));

	if(pWhybiz->flashFlag == FLASH_FLAG){
		printk("Already written to flash factors\r\n");
		printk("version: %d\r\n", pWhybiz->version);			
	}
	else{
		printk("New Program. now set first factors\r\n");
		pWhybiz->flashFlag = FLASH_FLAG;
		pWhybiz->version = 1;
		pWhybiz->node = 111;
		pWhybiz->channel = 2;//0: ethernet, 1: rs485, 2: lora
		pWhybiz->ble = 123;
		pWhybiz->adc1 = 0;
		pWhybiz->adc2 = 0;
		pWhybiz->sw = 0;
		pWhybiz->relay = 0x55;
		pWhybiz->lora_ch = 20;
		pWhybiz->power = 16;
		pWhybiz->rssi = 0;
		(void)nvs_write(&fs, UTTEC_ID, pWhybiz, sizeof(whybiz_t)+1);
	}
	// pWhybiz->channel = 1;//0: ethernet, 1: rs485, 2: lora , for test. 2024.01.26
	dispFactors();
}

void testNvm(void){
    int rc = 0;
	whybiz_t* pWhybiz = getWhybizFactor();

	rc = nvs_read(&fs, UTTEC_ID, pWhybiz, sizeof(whybiz_t));
	if (rc > 0) { /* item was found, show it */
		printk("version: %d, node: %d\n", pWhybiz->version, pWhybiz->node);
		pWhybiz->version++;
		(void)nvs_write(&fs, UTTEC_ID, pWhybiz, sizeof(whybiz_t)+1);
	} else   {/* item was not found, add it */
		printk("flash write read error\r\n");
	}
}

void saveFactorToFlash(void){
	whybiz_t* pWhybiz = getWhybizFactor();
	(void)nvs_write(&fs, UTTEC_ID, pWhybiz, sizeof(whybiz_t)+1);
}
```

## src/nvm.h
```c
#ifndef NVM__H__
#define NVM__H__

void initNvm(void);

void dispFactors(void);

void testNvm(void);

void saveFactorToFlash(void);


#endif 
```

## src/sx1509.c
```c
#include <zephyr/kernel.h>
#include <zephyr/drivers/gpio.h>
#include <zephyr/sys/printk.h>
#include <zephyr/devicetree.h> 
#include <zephyr/drivers/i2c.h>

#include "uttec.h"
#include "myBle.h"
#include "sx1509.h"

#define SX1509_ADDRESS		0x3e
#define I2C_NODE DT_NODELABEL(arduino_i2c)

static const struct device *i2c0_dev = DEVICE_DT_GET(I2C_NODE);
// static uint8_t sx1509_in = 0;

void initSxRelay(void){
	for(int i = 0; i < 8; i++){
		writeOutSx(i, 0);
		k_sleep(K_MSEC(100));
	}
}

void initSx1509(void){
	int err;
	uint8_t buf[2];

	if(!device_is_ready(i2c0_dev)){
		printk("i2c_dev is not ready ----------->\r\n");
		while(1);
	}

	buf[0] = 0x00; buf[1] = 0x00; //port b, input enable	
	err = i2c_write(i2c0_dev, buf, 2, SX1509_ADDRESS);
	buf[0] = 0x01; buf[1] = 0x00; //port a, input enable
	err = i2c_write(i2c0_dev, buf, 2, SX1509_ADDRESS);

	buf[0] = 0x06; buf[1] = 0xff; //port b, pull up
	err = i2c_write(i2c0_dev, buf, 2, SX1509_ADDRESS);
	buf[0] = 0x07; buf[1] = 0xff; //port a, pull up
	err = i2c_write(i2c0_dev, buf, 2, SX1509_ADDRESS);
	buf[0] = 0x0e; buf[1] = 0x00; //port b, output
	err = i2c_write(i2c0_dev, buf, 2, SX1509_ADDRESS);
	buf[0] = 0x0f; buf[1] = 0xff; //port a, input
	err = i2c_write(i2c0_dev, buf, 2, SX1509_ADDRESS);
	if(err < 0){
		printk("i2c write fail------------\r\n");		// return 0;
		while(1);
	}
	// initSxRelay();
	writeInitRelay();
	delay(100);
	
	printk("relay status: %x, sw status: %x\r\n", 
		readSxRelay(), readSxSw());

	// printk("------> end of initSx1509\r\n");
}

uint8_t readSxRelay(void){
	int err;
	uint8_t buf = 0x10;
	whybiz_t* pWhybiz = getWhybizFactor();

	err = i2c_write(i2c0_dev, &buf, 1, SX1509_ADDRESS);
	if(err < 0){
		printk("i2c write fail------------\r\n");
	}
	err = i2c_read(i2c0_dev, &buf, 1, SX1509_ADDRESS);
	if(err < 0){
		printk("i2c write fail------------\r\n");
	}
	pWhybiz->relay = buf;
	return pWhybiz->relay;
}

uint8_t readSxSw(void){
	int err;
	uint8_t buf = 0x11;
	whybiz_t* pWhybiz = getWhybizFactor();

	err = i2c_write(i2c0_dev, &buf, 1, SX1509_ADDRESS);
	if(err < 0){
		printk("i2c write fail------------\r\n");
	}
	err = i2c_read(i2c0_dev, &buf, 1, SX1509_ADDRESS);
	if(err < 0){
		printk("i2c write fail------------\r\n");
	}
	pWhybiz->sw = buf;
	return pWhybiz->sw;
}

bool checkSx1509In(bool ble){
	static uint16_t testCount = 0;
	uint8_t swNow = readSxSw();
	sx1509_t* pBefore = getBeforeSxReg();

	if(pBefore->sw == swNow){
		printk("now and before same: %d\r\n", testCount++);
		return 0;	
	} 		
	printk("now: %x, reg: %x\r\n", swNow, pBefore->sw);
	whybizFrame_t* pJson = getWhybizFrame();
	pJson->node = 1;
	pJson->category = SWITCH_DEVICE;
	pJson->sensor = swNow;
	pJson->value = swNow;
	procSwitchTxBle(true);

	pBefore->sw = swNow;
	return true;
}

uint8_t readOutSxRelay(void){
	int err;
	uint8_t buf = 0x10;

	err = i2c_write(i2c0_dev, &buf, 1, SX1509_ADDRESS);
	if(err < 0){
		printk("i2c write fail------------\r\n");
	}
	err = i2c_read(i2c0_dev, &buf, 1, SX1509_ADDRESS);
	if(err < 0){
		printk("i2c write fail------------\r\n");
	}
	printk("read buf: %x\r\n", buf);
	return buf;
}

void writeInitRelay(void){
	whybiz_t* pWhybiz = getWhybizFactor();
	int err;
	
	uint8_t buf[2];
	buf[0] = 0x10; buf[1] = pWhybiz->relay; //regB, all high
	err = i2c_write(i2c0_dev, buf, 2, SX1509_ADDRESS);
	if(err < 0){
		printk("i2c write fail------------\r\n");
	}
}

void writeOutSx(uint8_t bitNum, bool output){
	uint8_t regB = readOutSxRelay();
	int err;
	printk("~BIT_0: %x\r\n", (uint8_t)~BIT_0);

	switch(bitNum){
		case 0:
			if(output) regB = regB | (uint8_t)~BIT_0;
			else regB = regB & BIT_0;
		break;
		case 1:
			if(output) regB = regB | (uint8_t)~BIT_1;
			else regB = regB & BIT_1;
		break;
		case 2:
			if(output) regB = regB | (uint8_t)~BIT_2;
			else regB = regB & BIT_2;
		break;
		case 3:
			if(output) regB = regB | (uint8_t)~BIT_3;
			else regB = regB & BIT_3;
		break;
		case 4:
			if(output) regB = regB | (uint8_t)~BIT_4;
			else regB = regB & BIT_4;
		break;
		case 5:
			if(output) regB = regB | (uint8_t)~BIT_5;
			else regB = regB & BIT_5;
		break;
		case 6:
			if(output) regB = regB | (uint8_t)~BIT_6;
			else regB = regB & BIT_6;
		break;
		case 7:
			if(output) regB = regB | (uint8_t)~BIT_7;
			else regB = regB & BIT_7;
		break;
		default:
		return;
	}
	uint8_t buf[2];
	buf[0] = 0x10; buf[1] = regB; //regB, all high

	if(regB == 0xff) return; //if error

	err = i2c_write(i2c0_dev, buf, 2, SX1509_ADDRESS);
	if(err < 0){
		printk("i2c write fail------------\r\n");
	}
	printk("regB: %x\r\n", regB);
}

// void setRelay()
void testRelay(void){
	static uint16_t count = 0;
	switch(count%16){
		case 0: writeOutSx(count%8, true); break;
		case 1: writeOutSx(count%8, true); break;
		case 2: writeOutSx(count%8, true); break;
		case 3: writeOutSx(count%8, true); break;
		case 4: writeOutSx(count%8, true); break;
		case 5: writeOutSx(count%8, true); break;
		case 6: writeOutSx(count%8, true); break;
		case 7: writeOutSx(count%8, true); break;
		case 8: writeOutSx(count%8, false); break;
		case 9: writeOutSx(count%8, false); break;
		case 10: writeOutSx(count%8, false); break;
		case 11: writeOutSx(count%8, false); break;
		case 12: writeOutSx(count%8, false); break;
		case 13: writeOutSx(count%8, false); break;
		case 14: writeOutSx(count%8, false); break;
		case 15: writeOutSx(count%8, false); break;
	}
	count++;
}

void testSw(void){
}
```

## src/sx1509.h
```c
#ifndef SX1509__H__
#define SX1509__H__


#define BIT_0 0B11111110
#define BIT_1 0B11111101
#define BIT_2 0B11111011
#define BIT_3 0B11110111
#define BIT_4 0B11101111
#define BIT_5 0B11011111
#define BIT_6 0B10111111
#define BIT_7 0B01111111

void initSxRelay(void);
void initSx1509(void);
uint8_t readSxRelay(void);
uint8_t readSxSw(void);

bool checkSx1509In(bool);

void writeOutSx(uint8_t bitNum, bool output);
void writeInitRelay(void);

void testRelay(void);
void testSw(void);

#endif 
```

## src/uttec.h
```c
#ifndef UTTEC__H__
#define UTTEC__H__

#include <stdio.h>
#include <stdbool.h>

// for uart channel
#define ETHERNET_CHANNEL  0
#define RS485_CHANNEL     1
#define LORA_CHANNEL      2
#define BLANK_CHANNEL     3    

// for status
#define ADC_DEVICE		    1
#define SWITCH_DEVICE 	    2
#define RELAY_DEVICE	    3
#define LORA_DEVICE	        4
#define VERSION_DEVICE	    5
#define CHANNEL_DEVICE		6
// #define BLE_NUM_DEVICE	    6
#define MAX_CATEGORY        CHANNEL_DEVICE + 1
#define MAX_BLE_CATEGORY    4
// end

// for control
#define CTR_RELAY           13
#define CTR_LORA            14
#define CTR_CHANNEL         16
// end

// for control
#define SET_LORA            24
#define SET_VERSION         25
#define SET_CHANNEL         26
// end

// for rssi status
#define STATUS_RSSI         32
// end

#define ACK_CMD             200 

#define FLASH_FLAG      0xaaaa 

typedef struct{
    uint16_t flashFlag;
    uint8_t version;
    uint8_t node;
    uint8_t channel;
    uint8_t ble;
    int8_t  adc1;
    int8_t  adc2;
    uint8_t sw;
    uint8_t relay;
    uint8_t lora_ch;
    uint8_t power;
    int8_t  rssi;
} whybiz_t;

typedef struct{
    uint16_t src_pid;
    uint16_t src_addr;
    int rssi;
} loraFactor_t;

typedef struct{
    uint8_t relay;
    uint8_t sw;
} sx1509_t;

typedef struct{
    bool first;
    bool ble;
    bool wifi;
    bool ethernet;
    bool rs485;
} connectFlag_t;

typedef struct{
    uint8_t node;
    uint8_t category;
    uint8_t sensor;
    uint8_t value;
    uint16_t crc;
} whybizFrame_t;

typedef struct{
    uint8_t frame[200];
    uint8_t start;
    uint8_t end;
    uint8_t flag;
} jsonFrame_t;

typedef struct{
    uint8_t ca;
    uint8_t se;
    uint8_t va;
    uint8_t crc;
} ack_t;

void initPort(void);
void setUartChannel(uint8_t channel);

void uttecJsonTest(uint8_t* pData, uint8_t len);

sx1509_t* getBeforeSxReg(void);
whybiz_t* getWhybizFactor(void);

whybizFrame_t* getWhybizFrame(void);
void testJsonOut(void);

void clearJsonData(void);
jsonFrame_t* getJsonFrame(void);
void dispJsonFrame(void);

connectFlag_t* getConnectFlag(void);

void procChannel(bool);
void procLora(bool);
void procVersion(bool);

void sendStatus2Server(void);

void dispChannel(void);

void delay(uint16_t msec);

void newParse(uint8_t* pData, uint8_t len);

void sendAck(ack_t ack);

#endif 
```
